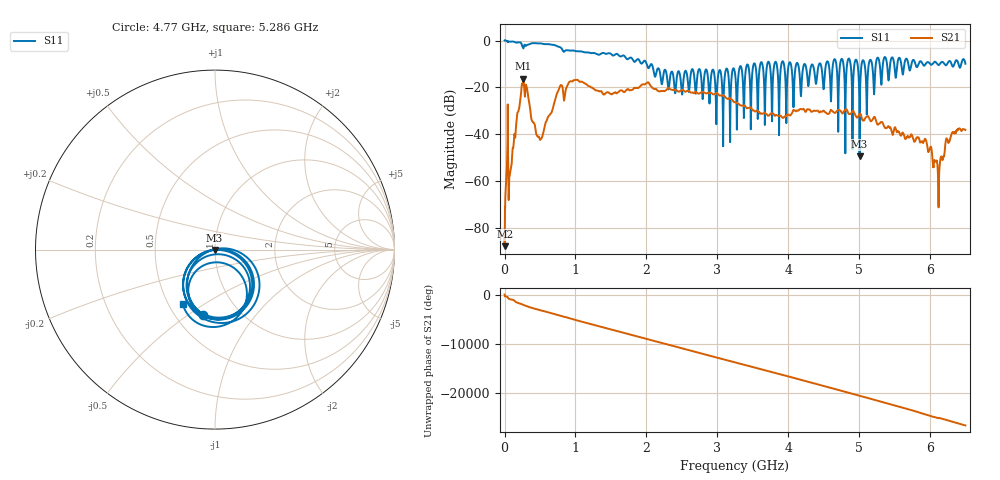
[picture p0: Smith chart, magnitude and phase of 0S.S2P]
!Keysight Technologies,E5063A,MY54503115,A.05.08
!Date: Mon Mar 04 16:03:31 2024
!Data & Calibration Information:
!Freq	S11:NONE(--)	S21:NONE(--)	S12:NONE(--)	S22:NONE(--)
# Hz S dB R 50
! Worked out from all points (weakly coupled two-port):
!   10001 points, 100 kHz to 6.5 GHz, reference 50 ohm
!   highest |S21| = -16.24 dB at 265.3 MHz (marker M1); lowest = -87.9 dB at 750 kHz (marker M2)
!   lowest |S11| = -49.5 dB at 5.008 GHz (marker M3), VSWR 1.01, Z = 49.8 - j0.255 ohm
!   |S11| at or under -10 dB: 2.003 GHz to 3.515 GHz (1.511 GHz wide, 54.8 % of centre); 4.138 GHz to 4.23 GHz (91.73 MHz wide, 2.19 % of centre); 4.233 GHz to 4.438 GHz (204.6 MHz wide, 4.72 % of centre) (the widest 3 of 29)
!   S12 and S22 are empty: the file has one direction only
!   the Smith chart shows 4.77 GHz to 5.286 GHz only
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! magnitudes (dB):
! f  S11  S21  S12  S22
! 100 kHz  0.0  -83.0  -  -
! 750 kHz  0.0  -87.9  -  -
! 40.4 MHz  -0.2  -43.3  -  -
! 84.6 MHz  -0.5  -55.2  -  -
! 265.3 MHz  -3.3  -16.2  -  -
! 499.3 MHz  -1.2  -42.4  -  -
! 779.4 MHz  -2.8  -19.7  -  -
! 1.084 GHz  -4.7  -17.5  -  -
! 2.167 GHz  -11.8  -21.5  -  -
! 3.25 GHz  -13.9  -26.3  -  -
! 4.334 GHz  -10.3  -30.4  -  -
! 4.806 GHz  -48.2  -29.4  -  -
! 4.857 GHz  -7.7  -31.4  -  -
! 4.908 GHz  -37.4  -30.1  -  -
! 4.958 GHz  -8.2  -32.4  -  -
! 5.008 GHz  -49.5  -31.3  -  -
! 5.057 GHz  -8.4  -34.2  -  -
! 5.417 GHz  -17.0  -36.7  -  -
! 5.931 GHz  -10.4  -42.0  -  -
! 6.11 GHz  -10.2  -55.2  -  -
! 6.245 GHz  -9.9  -42.2  -  -
! 6.5 GHz  -9.9  -38.2  -  -
